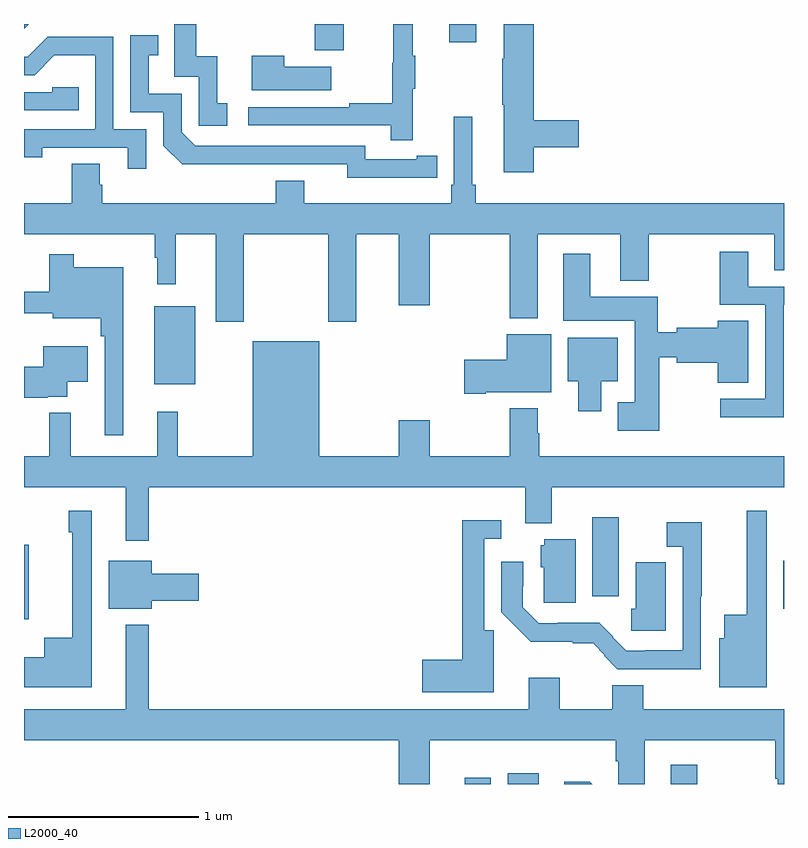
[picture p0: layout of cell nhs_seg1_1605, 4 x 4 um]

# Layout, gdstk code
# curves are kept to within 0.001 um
import gdstk
lib = gdstk.Library(unit=1e-6, precision=1e-09)
def R(c, l, rs):  # rectangles x0, y0, x1, y1
    for r in rs: c.add(gdstk.rectangle(r[:2], r[2:], *l))
def P(c, l, *ps):  # polygons
    for p in ps: c.add(gdstk.Polygon(p, *l))
L2000_40 = (2000, 40)

nhs_seg1_1605 = lib.new_cell('nhs_seg1_1605')
R(nhs_seg1_1605, L2000_40, [(201.32,522.199,201.457,522.232), (201.545,522.199,201.709,522.256), (202.403,522.199,202.543,522.301), (199,523.065,199.024,523.459), (202.997,523.121,203,523.375), (201.992,523.188,202.129,523.603), (199.685,524.303,199.9,524.713), (200.531,526.062,200.683,526.199), (201.239,526.104,201.379,526.199)])
P(nhs_seg1_1605, L2000_40, [(199.025,526.199),(199,526.199),(199,526.174)],
  [(200.071,525.783),(200.018,525.783),(200.018,526.03),(199.907,526.03),(199.907,526.199),(199.791,526.199),(199.791,525.921),(199.92,525.921),(199.92,525.663),(200.071,525.663)],
  [(201.047,525.859),(201.058,525.859),(201.058,526.033),(201.047,526.033),(201.047,526.199),(200.944,526.199),(200.944,525.996),(200.937,525.996),(200.937,525.782),(200.713,525.782),(200.713,525.762),(200.181,525.762),(200.181,525.666),(200.929,525.666),(200.929,525.588),(201.047,525.588)],
  [(201.683,525.55),(201.919,525.55),(201.919,525.692),(201.683,525.692),(201.683,526.199),(201.524,526.199),(201.524,526.016),(201.517,526.016),(201.517,525.775),(201.524,525.775),(201.524,525.42),(201.683,525.42)],
  [(201.068,525.39),(201.176,525.39),(201.176,525.506),(201.068,525.506),(201.068,525.486),(200.796,525.486),(200.796,525.558),(199.902,525.558),(199.83,525.63),(199.83,525.831),(199.657,525.831),(199.657,526.035),(199.706,526.035),(199.706,526.141),(199.56,526.141),(199.56,525.735),(199.734,525.735),(199.734,525.558),(199.832,525.461),(200.7,525.462),(200.7,525.389)],
  [(199.644,525.645),(199.47,525.645),(199.47,526.131),(199.124,526.131),(199.019,526.026),(199,526.026),(199,525.93),(199.056,525.93),(199.16,526.034),(199.374,526.034),(199.374,525.645),(199,525.645),(199,525.498),(199.096,525.498),(199.096,525.549),(199.547,525.549),(199.547,525.438),(199.644,525.438)],
  [(200.617,525.973),(200.369,525.973),(200.369,526.033),(200.198,526.033),(200.198,525.851),(200.617,525.851)],
  [(199.289,525.867),(199.149,525.867),(199.149,525.84),(199,525.84),(199,525.744),(199.289,525.744)],
  [(201.377,525.352),(201.358,525.352),(201.358,525.712),(201.261,525.712),(201.261,525.352),(201.248,525.352),(201.248,525.256),(200.476,525.256),(200.476,525.373),(200.324,525.373),(200.324,525.256),(199.412,525.256),(199.412,525.354),(199.399,525.354),(199.399,525.464),(199.252,525.464),(199.252,525.256),(199,525.256),(199,525.092),(199.689,525.092),(199.689,524.969),(199.7,524.969),(199.7,524.829),(199.799,524.829),(199.799,525.092),(200.009,525.092),(200.009,524.631),(200.157,524.631),(200.157,525.092),(200.602,525.092),(200.602,524.631),(200.749,524.631),(200.749,525.092),(200.972,525.092),(200.972,524.718),(201.136,524.718),(201.136,525.092),(201.556,525.092),(201.556,524.651),(201.703,524.651),(201.703,525.092),(202.139,525.092),(202.139,524.849),(202.287,524.849),(202.287,525.092),(202.949,525.092),(202.949,524.902),(203,524.902),(203,525.256),(201.377,525.256)],
  [(202.998,524.721),(203,524.721),(203,524.817),(202.813,524.817),(202.813,525.001),(202.663,525.001),(202.663,524.721),(202.902,524.721),(202.902,524.226),(202.665,524.226),(202.665,524.129),(202.998,524.129)],
  [(202.344,524.444),(202.436,524.444),(202.436,524.417),(202.652,524.417),(202.652,524.311),(202.813,524.311),(202.813,524.636),(202.652,524.636),(202.652,524.6),(202.436,524.6),(202.436,524.576),(202.336,524.576),(202.336,524.764),(201.979,524.764),(201.979,524.989),(201.839,524.989),(201.839,524.636),(202.214,524.636),(202.214,524.209),(202.124,524.209),(202.124,524.057),(202.344,524.057)],
  [(199.522,524.92),(199.261,524.92),(199.261,524.986),(199.132,524.986),(199.132,524.791),(199,524.791),(199,524.677),(199.151,524.677),(199.151,524.651),(199.405,524.651),(199.405,524.555),(199.425,524.555),(199.425,524.034),(199.522,524.034)],
  [(201.43,524.261),(201.775,524.261),(201.775,524.566),(201.542,524.566),(201.542,524.432),(201.318,524.432),(201.318,524.254),(201.43,524.254)],
  [(202.039,524.318),(202.126,524.318),(202.126,524.548),(201.863,524.548),(201.863,524.318),(201.917,524.318),(201.917,524.16),(202.039,524.16)],
  [(199.657,523.76),(201.638,523.76),(201.638,523.571),(201.778,523.571),(201.778,523.76),(203,523.76),(203,523.924),(201.711,523.924),(201.711,524.045),(201.703,524.045),(201.703,524.176),(201.556,524.176),(201.556,523.924),(201.136,523.924),(201.136,524.113),(200.972,524.113),(200.972,523.924),(200.554,523.924),(200.554,524.53),(200.204,524.53),(200.204,523.924),(199.81,523.924),(199.81,524.158),(199.7,524.158),(199.7,523.924),(199.247,523.924),(199.247,524.152),(199.134,524.152),(199.134,523.924),(199,523.924),(199,523.76),(199.535,523.76),(199.535,523.479),(199.657,523.479)],
  [(199.124,524.237),(199.228,524.237),(199.228,524.315),(199.336,524.315),(199.336,524.503),(199.1,524.503),(199.1,524.395),(199,524.395),(199,524.232),(199.124,524.232)],
  [(202.909,523.636),(202.805,523.636),(202.805,523.09),(202.685,523.09),(202.685,522.966),(202.658,522.966),(202.658,522.707),(202.909,522.707)],
  [(199.357,523.636),(199.236,523.636),(199.236,523.523),(199.253,523.523),(199.253,522.97),(199.106,522.97),(199.106,522.865),(199,522.865),(199,522.707),(199.357,522.707)],
  [(201.473,523.008),(201.423,523.008),(201.423,523.491),(201.511,523.491),(201.511,523.588),(201.307,523.588),(201.307,522.854),(201.096,522.854),(201.096,522.683),(201.473,522.683)],
  [(202.563,523.186),(202.566,523.186),(202.566,523.576),(202.384,523.576),(202.384,523.448),(202.467,523.448),(202.467,522.904),(202.27,522.904),(202.27,522.9),(202.17,522.9),(202.098,522.972),(202.101,522.975),(202.027,523.049),(201.808,523.049),(201.808,523.044),(201.708,523.044),(201.624,523.128),(201.624,523.241),(201.628,523.241),(201.628,523.369),(201.512,523.369),(201.512,523.104),(201.667,522.947),(201.887,522.947),(201.887,522.939),(201.995,522.939),(202.057,522.877),(202.053,522.873),(202.123,522.803),(202.563,522.803)],
  [(201.904,523.486),(201.738,523.486),(201.738,523.455),(201.719,523.455),(201.719,523.341),(201.735,523.341),(201.735,523.152),(201.904,523.152)],
  [(199.672,523.163),(199.921,523.163),(199.921,523.305),(199.672,523.305),(199.672,523.375),(199.445,523.375),(199.445,523.121),(199.672,523.121)],
  [(202.378,523.367),(202.22,523.367),(202.22,523.122),(202.197,523.122),(202.197,523.005),(202.378,523.005)],
  [(201.136,522.428),(202.115,522.428),(202.115,522.318),(202.128,522.318),(202.128,522.199),(202.267,522.199),(202.267,522.428),(202.955,522.428),(202.955,522.226),(202.967,522.226),(202.967,522.199),(203,522.199),(203,522.592),(202.258,522.592),(202.258,522.718),(202.097,522.718),(202.097,522.592),(201.82,522.592),(201.82,522.757),(201.656,522.757),(201.656,522.592),(199.657,522.592),(199.657,523.036),(199.535,523.036),(199.535,522.592),(199,522.592),(199,522.428),(200.972,522.428),(200.972,522.199),(201.136,522.199)],
  [(201.978,522.211),(201.843,522.211),(201.843,522.199),(201.99,522.199)])

lib.write_gds('nhs_seg1_1605.gds')
